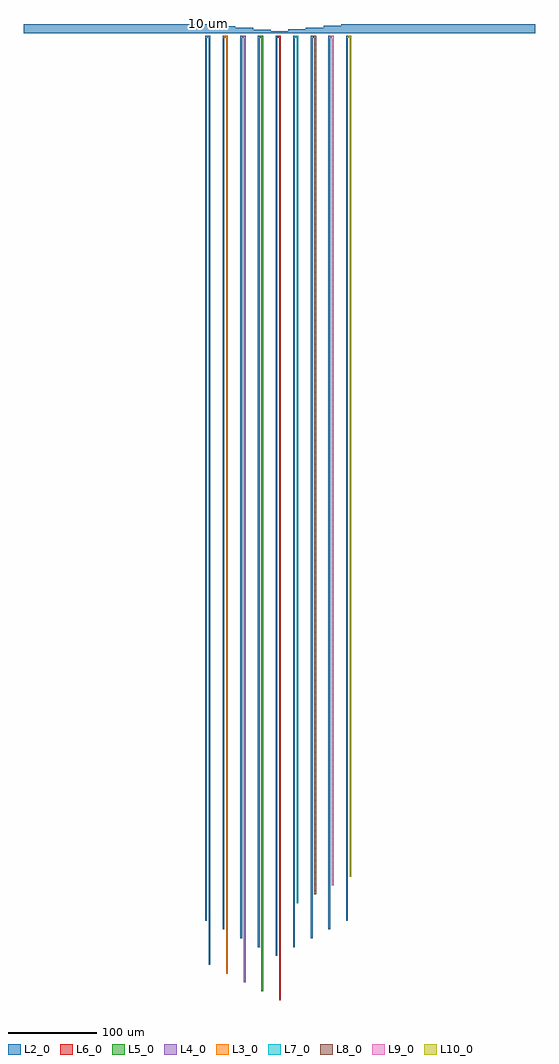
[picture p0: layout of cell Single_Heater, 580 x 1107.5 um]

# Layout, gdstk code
import gdstk
lib = gdstk.Library(unit=1e-6, precision=1e-09)
def P(c, l, *ps):  # polygons
    for p in ps: c.add(gdstk.Polygon(p, *l))
L2_0 = (2, 0)
L3_0 = (3, 0)
L4_0 = (4, 0)
L5_0 = (5, 0)
L6_0 = (6, 0)
L7_0 = (7, 0)
L8_0 = (8, 0)
L9_0 = (9, 0)
L10_0 = (10, 0)

thermocouple_junction_w2 = lib.new_cell('thermocouple_junction_W2_LBAU_ACTIVE_LT2_0_TFalse_OLL10_1a3f63c6')
P(thermocouple_junction_w2, L2_0, [(0,-1000),(0,4),(4,4),(4,2),(2,2),(2,-1000)],
  [(4,-1050),(4,2),(2,2),(2,4),(6,4),(6,-1050)])

c_thermocouple_junction_w2 = lib.new_cell('thermocouple_junction_W2_LBAU_ACTIVE_LT3_0_TFalse_OLL10_a8b8abef')
P(c_thermocouple_junction_w2, L2_0, [(0,-1010),(0,4),(4,4),(4,2),(2,2),(2,-1010)])
P(c_thermocouple_junction_w2, L3_0, [(4,-1060),(4,2),(2,2),(2,4),(6,4),(6,-1060)])

c_thermocouple_junction_w2_ = lib.new_cell('thermocouple_junction_W2_LBAU_ACTIVE_LT4_0_TFalse_OLL10_92aa8344')
P(c_thermocouple_junction_w2_, L2_0, [(0,-1020),(0,4),(4,4),(4,2),(2,2),(2,-1020)])
P(c_thermocouple_junction_w2_, L4_0, [(4,-1070),(4,2),(2,2),(2,4),(6,4),(6,-1070)])

c_thermocouple_junction_w2__ = lib.new_cell('thermocouple_junction_W2_LBAU_ACTIVE_LT5_0_TFalse_OLL10_2ec0bf30')
P(c_thermocouple_junction_w2__, L2_0, [(0,-1030),(0,4),(4,4),(4,2),(2,2),(2,-1030)])
P(c_thermocouple_junction_w2__, L5_0, [(4,-1080),(4,2),(2,2),(2,4),(6,4),(6,-1080)])

c_thermocouple_junction_w2___ = lib.new_cell('thermocouple_junction_W2_LBAU_ACTIVE_LT6_0_TFalse_OLL10_e7dd82eb')
P(c_thermocouple_junction_w2___, L2_0, [(0,-1040),(0,4),(4,4),(4,2),(2,2),(2,-1040)])
P(c_thermocouple_junction_w2___, L6_0, [(4,-1090),(4,2),(2,2),(2,4),(6,4),(6,-1090)])

c_thermocouple_junction_w2____ = lib.new_cell('thermocouple_junction_W2_LBAU_ACTIVE_LT7_0_TFalse_OLL10_97a373a9')
P(c_thermocouple_junction_w2____, L2_0, [(0,-1030),(0,4),(4,4),(4,2),(2,2),(2,-1030)])
P(c_thermocouple_junction_w2____, L7_0, [(4,-980),(4,2),(2,2),(2,4),(6,4),(6,-980)])

c_thermocouple_junction_w2_____ = lib.new_cell('thermocouple_junction_W2_LBAU_ACTIVE_LT8_0_TFalse_OLL10_64cca7cc')
P(c_thermocouple_junction_w2_____, L2_0, [(0,-1020),(0,4),(4,4),(4,2),(2,2),(2,-1020)])
P(c_thermocouple_junction_w2_____, L8_0, [(4,-970),(4,2),(2,2),(2,4),(6,4),(6,-970)])

c_thermocouple_junction_w2______ = lib.new_cell('thermocouple_junction_W2_LBAU_ACTIVE_LT9_0_TFalse_OLL10_84fb8764')
P(c_thermocouple_junction_w2______, L2_0, [(0,-1010),(0,4),(4,4),(4,2),(2,2),(2,-1010)])
P(c_thermocouple_junction_w2______, L9_0, [(4,-960),(4,2),(2,2),(2,4),(6,4),(6,-960)])

c_thermocouple_junction_w2_______ = lib.new_cell('thermocouple_junction_W2_LBAU_ACTIVE_LT10_0_TFalse_OLL1_2cc5f882')
P(c_thermocouple_junction_w2_______, L2_0, [(0,-1000),(0,4),(4,4),(4,2),(2,2),(2,-1000)])
P(c_thermocouple_junction_w2_______, L10_0, [(4,-950),(4,2),(2,2),(2,4),(6,4),(6,-950)])

single_heater = lib.new_cell('Single_Heater')
P(single_heater, L2_0, [(-200,0),(-200,10),(20,10),(20,8),(40,8),(40,6),(60,6),(60,4),(80,4),(80,2),(100,2),(100,4.5),(120,4.5),(120,6.5),(140,6.5),(140,8.5),(160,8.5),(160,10.5),(180,10.5),(380,10.5),(380,0),(-100,0)])
single_heater.add(gdstk.Reference(thermocouple_junction_w2, (5.5,-7)))
single_heater.add(gdstk.Reference(c_thermocouple_junction_w2, (25.5,-7)))
single_heater.add(gdstk.Reference(c_thermocouple_junction_w2_, (45.5,-7)))
single_heater.add(gdstk.Reference(c_thermocouple_junction_w2__, (65.5,-7)))
single_heater.add(gdstk.Reference(c_thermocouple_junction_w2___, (85.5,-7)))
single_heater.add(gdstk.Reference(c_thermocouple_junction_w2____, (105.5,-7)))
single_heater.add(gdstk.Reference(c_thermocouple_junction_w2_____, (125.5,-7)))
single_heater.add(gdstk.Reference(c_thermocouple_junction_w2______, (145.5,-7)))
single_heater.add(gdstk.Reference(c_thermocouple_junction_w2_______, (165.5,-7)))
single_heater.add(gdstk.Label('10 um', (10,11), layer=0, texttype=0))
single_heater.add(gdstk.Label('Chain of stepped heaters spaced 20 um\nwith TCs spaced 20 um with each TC on separate layer', (10,40), layer=0, texttype=0))

lib.write_gds('Single_Heater.gds')
